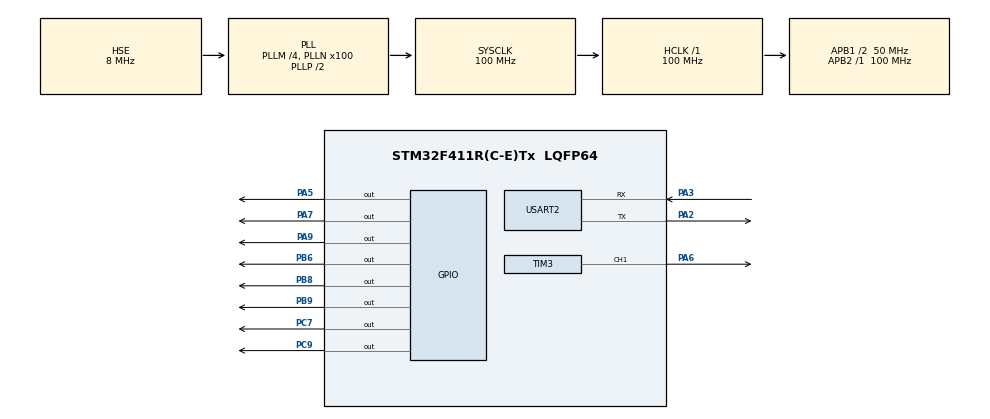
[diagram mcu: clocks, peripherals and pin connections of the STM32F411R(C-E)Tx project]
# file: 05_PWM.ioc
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Mcu.Family=STM32F4
Mcu.Name=STM32F411R(C-E)Tx
Mcu.Package=LQFP64
NVIC.PriorityGroup=NVIC_PRIORITYGROUP_4
NVIC.USART2_IRQn=true\:0\:0\:false\:false\:true\:true\:true\:true
PA13.Mode=Serial_Wire
PA13.Signal=SYS_JTMS-SWDIO
PA14.Mode=Serial_Wire
PA14.Signal=SYS_JTCK-SWCLK
PA2.Mode=Asynchronous
PA2.Signal=USART2_TX
PA3.Mode=Asynchronous
PA3.Signal=USART2_RX
PA5.Signal=GPIO_Output
PA6.Signal=S_TIM3_CH1
PA7.Signal=GPIO_Output
PA9.Signal=GPIO_Output
PB6.Signal=GPIO_Output
PB8.Signal=GPIO_Output
PB9.Signal=GPIO_Output
PC7.Signal=GPIO_Output
PC9.Signal=GPIO_Output
PH0\ -\ OSC_IN.Mode=HSE-External-Oscillator
PH0\ -\ OSC_IN.Signal=RCC_OSC_IN
PH1\ -\ OSC_OUT.Mode=HSE-External-Oscillator
PH1\ -\ OSC_OUT.Signal=RCC_OSC_OUT
ProjectManager.HeapSize=0x200
ProjectManager.StackSize=0x400
ProjectManager.TargetToolchain=STM32CubeIDE
RCC.48MHZClocksFreq_Value=50000000
RCC.AHBFreq_Value=100000000
RCC.APB1CLKDivider=RCC_HCLK_DIV2
RCC.APB1Freq_Value=50000000
RCC.APB1TimFreq_Value=100000000
RCC.APB2Freq_Value=100000000
RCC.APB2TimFreq_Value=100000000
RCC.CortexFreq_Value=100000000
RCC.HCLKFreq_Value=100000000
RCC.HSE_VALUE=8000000
RCC.HSI_VALUE=16000000
RCC.LSE_VALUE=32768
RCC.PLLM=4
RCC.PLLN=100
RCC.PLLSourceVirtual=RCC_PLLSOURCE_HSE
RCC.SYSCLKFreq_VALUE=100000000
RCC.SYSCLKSource=RCC_SYSCLKSOURCE_PLLCLK
RCC.VCOOutputFreq_Value=200000000
SH.S_TIM3_CH1.0=TIM3_CH1,PWM Generation1 CH1
TIM3.Channel-PWM\ Generation1\ CH1=TIM_CHANNEL_1
TIM3.Period=1000-1
TIM3.Prescaler=2000
TIM3.Pulse-PWM\ Generation1\ CH1=0
USART2.VirtualMode=VM_ASYNC
VP_TIM3_VS_ClockSourceINT.Mode=Internal
board=custom

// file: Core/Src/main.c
/* USER CODE BEGIN Header */
/**
  ******************************************************************************
  * @file           : main.c
  * @brief          : Main program body
  ******************************************************************************
  * @attention
  *
  * Copyright (c) 2025 STMicroelectronics.
  * All rights reserved.
  *
  * This software is licensed under terms that can be found in the LICENSE file
  * in the root directory of this software component.
  * If no LICENSE file comes with this software, it is provided AS-IS.
  *
  ******************************************************************************
  */
/* USER CODE END Header */
#include "main.h"
#include "tim.h"
#include "usart.h"
#include "gpio.h"

/* USER CODE BEGIN Includes */
#include "led.h"
/* USER CODE END Includes */

/* USER CODE BEGIN PV */
uint8_t rxData;
uint8_t rxFlag;
/* USER CODE END PV */

void SystemClock_Config(void);
/* USER CODE BEGIN PFP */
void HAL_UART_RxCpltCallback(UART_HandleTypeDef *huart) {
	if (huart->Instance == USART2) {
		HAL_UART_Receive_IT(&huart2, &rxData, sizeof(rxData));
		ledOff(8);
	}

	if (rxData == 'a') {
		rxFlag = 1;
	}
	else if (rxData == 'b') {
		rxFlag = 2;
	}
	else if (rxData == 'c') {
		rxFlag = 3;
	}
	else if (rxData == 'd') {
		rxFlag = 4;
	}
	else if (rxData == 'e') {
		rxFlag = 5;
	}
}
/* USER CODE END PFP */

int main(void)
{

  /* MCU Configuration--------------------------------------------------------*/

  /* Reset of all peripherals, Initializes the Flash interface and the Systick. */
  HAL_Init();

  /* Configure the system clock */
  SystemClock_Config();

  /* Initialize all configured peripherals */
  MX_GPIO_Init();
  MX_TIM3_Init();
  MX_USART2_UART_Init();
  /* USER CODE BEGIN 2 */
  HAL_TIM_PWM_Start(&htim3, TIM_CHANNEL_1);			// Timer 3 Channel 1 PWM mode Start
  HAL_UART_Receive_IT(&huart2, &rxData, sizeof(rxData));

  uint8_t servoPos = 75;
  int8_t direct = 1;

  uint32_t curTick = 0;
  uint32_t servoTick = 20;
  uint32_t servoLastTick = 0;
  uint32_t ledTick = 200;
  uint32_t ledLastTick = 0;
  /* USER CODE END 2 */

  /* Infinite loop */
  /* USER CODE BEGIN WHILE */
  while (1)
  {
	  curTick = HAL_GetTick();

	  switch (rxFlag) {
		case 1:
			if ((curTick - servoLastTick) >= servoTick) {
				if (servoPos > 30) {
					servoPos--;
				}
				else {
					servoPos = 30;
				}
				servoLastTick = curTick;
			}

			if ((curTick - ledLastTick) >= ledTick) {
				ledLeftShift(8, 0);
				ledLastTick = curTick;
			}
			break;

		case 2:
			if ((curTick - servoLastTick) >= servoTick) {
				if (servoPos < 75) {
					servoPos++;
				}
				else if (servoPos > 75) {
					servoPos--;
				}
				servoLastTick = curTick;
			}

			if ((curTick - ledLastTick) >= ledTick) {
				ledToggle(8);
				ledLastTick = curTick;
			}
			break;

		case 3:
			if ((curTick - servoLastTick) >= servoTick) {
				if (servoPos < 120) {
					servoPos++;
				}
				else {
					servoPos = 120;
				}
				servoLastTick = curTick;
			}

			if ((curTick - ledLastTick) >= ledTick) {
				ledRightShift(8, 0);
				ledLastTick = curTick;
			}
			break;

		case 4:
			if ((curTick - servoLastTick) >= servoTick) {
				if (servoPos <= 30) {
					servoPos = 30;
					direct = 1;
				}
				else if (servoPos >= 120) {
					servoPos = 120;
					direct = -1;
				}
				servoPos += direct;
				servoLastTick = curTick;
			}

			if ((curTick - ledLastTick) >= ledTick) {
				ledFlower(8, 0);
				ledLastTick = curTick;
			}
			break;

		case 5:
			ledOff(8);
			break;
	}

	  TIM3->CCR1 = servoPos;

/*	  // Servo 각도 확인
	  TIM3->CCR1 = 30;		// 0도
	  TIM3->CCR1 = 75;		// 90도
	  TIM3->CCR1 = 120;		// 180도*/

/*	  // duty 변경
//	  for(uint16_t i = 0; i < 1000; i++) {
//		  TIM3->CCR1 = i;
//		  HAL_Delay(5);
//	  }*/
    /* USER CODE END WHILE */

  }
}

void SystemClock_Config(void)
{
  RCC_OscInitTypeDef RCC_OscInitStruct = {0};
  RCC_ClkInitTypeDef RCC_ClkInitStruct = {0};

  /** Configure the main internal regulator output voltage
  */
  __HAL_RCC_PWR_CLK_ENABLE();
  __HAL_PWR_VOLTAGESCALING_CONFIG(PWR_REGULATOR_VOLTAGE_SCALE1);

  /** Initializes the RCC Oscillators according to the specified parameters
  * in the RCC_OscInitTypeDef structure.
  */
  RCC_OscInitStruct.OscillatorType = RCC_OSCILLATORTYPE_HSE;
  RCC_OscInitStruct.HSEState = RCC_HSE_ON;
  RCC_OscInitStruct.PLL.PLLState = RCC_PLL_ON;
  RCC_OscInitStruct.PLL.PLLSource = RCC_PLLSOURCE_HSE;
  RCC_OscInitStruct.PLL.PLLM = 4;
  RCC_OscInitStruct.PLL.PLLN = 100;
  RCC_OscInitStruct.PLL.PLLP = RCC_PLLP_DIV2;
  RCC_OscInitStruct.PLL.PLLQ = 4;
  if (HAL_RCC_OscConfig(&RCC_OscInitStruct) != HAL_OK)
  {
    Error_Handler();
  }

  /** Initializes the CPU, AHB and APB buses clocks
  */
  RCC_ClkInitStruct.ClockType = RCC_CLOCKTYPE_HCLK|RCC_CLOCKTYPE_SYSCLK
                              |RCC_CLOCKTYPE_PCLK1|RCC_CLOCKTYPE_PCLK2;
  RCC_ClkInitStruct.SYSCLKSource = RCC_SYSCLKSOURCE_PLLCLK;
  RCC_ClkInitStruct.AHBCLKDivider = RCC_SYSCLK_DIV1;
  RCC_ClkInitStruct.APB1CLKDivider = RCC_HCLK_DIV2;
  RCC_ClkInitStruct.APB2CLKDivider = RCC_HCLK_DIV1;

  if (HAL_RCC_ClockConfig(&RCC_ClkInitStruct, FLASH_LATENCY_3) != HAL_OK)
  {
    Error_Handler();
  }
}

void Error_Handler(void)
{
  __disable_irq();
  while (1)
  {
  }
}
